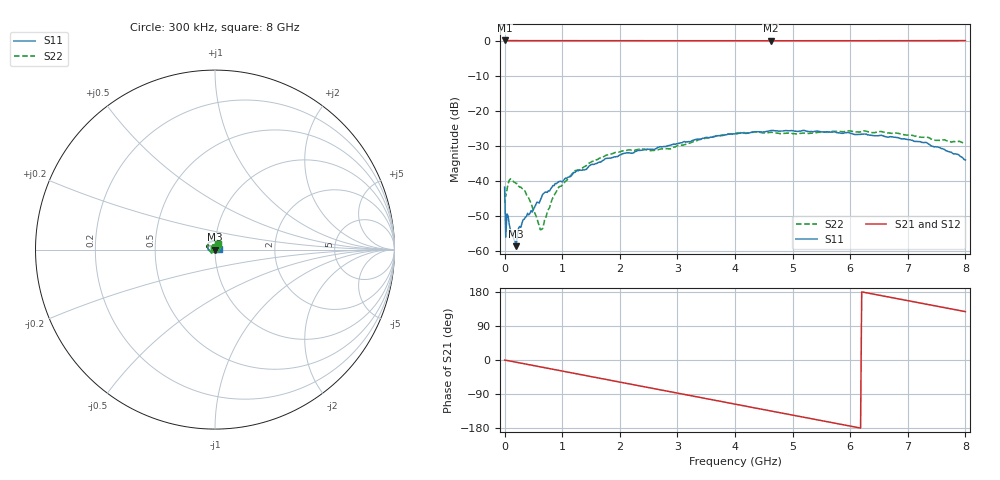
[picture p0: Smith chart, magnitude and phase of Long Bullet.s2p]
#  HZ  S  DB  R  50.00
! Rohde & Schwarz Vector Network Analyzer
! Rohde-Schwarz,ZNB8-4Port,1311601044101761,1.95
! Created: UTC 2/26/2014, 9:17:47 AM
! freq[Hz]  db:S11  ang:S11  db:S21  ang:S21  db:S12  ang:S12  db:S22  ang:S22
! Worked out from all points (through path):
!   401 points, 300 kHz to 8 GHz, reference 50 ohm
!   highest |S21| = 0.03 dB at 300 kHz (marker M1); lowest = -0.1 dB at 4.62 GHz (marker M2)
!   group delay of S21, straight-line fit = 80.7 ps
!   lowest |S11| = -58.7 dB at 200.3 MHz (marker M3), VSWR 1.00, Z = 50 - j0.11 ohm
!   |S11| at or under -10 dB: start of sweep to end of sweep
!   |S22| runs from -54.0 to -25.8 dB; largest |S21 - S12| = 0.0036
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300000  -41.89 103.4  0.03 -0.3  0.03 -0.3  -43.73 86.1
6.029775e7  -50.08 -98.1  -0.02 -1.8  -0.02 -1.7  -40.96 -1.5
8.0297e7  -52.42 -85.6  -0.03 -2.3  -0.03 -2.3  -39.95 -1.1
1.202955e8  -54.56 -80.5  -0.03 -3.5  -0.03 -3.5  -39.61 -0.5
1.60294e8  -56.83 -116.7  -0.03 -4.6  -0.03 -4.6  -40.41 -3.1
2.002925e8  -58.74 -108.0  -0.03 -5.8  -0.03 -5.8  -40.85 -1.1
2.802895e8  -53.38 -97.2  -0.03 -8.2  -0.03 -8.1  -41.86 -9.4
3.802858e8  -50.24 -99.6  -0.03 -11.1  -0.03 -11.1  -44.10 -19.2
6.40276e8  -44.81 -92.5  -0.03 -18.7  -0.03 -18.6  -53.96 -90.6
9.202655e8  -40.55 -97.1  -0.04 -26.9  -0.03 -26.8  -42.36 -151.9
1.200255e9  -37.65 -108.9  -0.04 -35.0  -0.04 -35.0  -37.53 -147.9
1.34025e9  -37.06 -117.1  -0.04 -39.1  -0.04 -39.0  -36.49 -143.2
1.920228e9  -33.24 -142.1  -0.05 -56.0  -0.05 -55.9  -31.96 -132.3
2.6802e9  -30.44 -165.0  -0.05 -78.1  -0.05 -78.0  -31.08 -151.9
3.320176e9  -28.25 176.0  -0.06 -96.7  -0.06 -96.5  -28.63 171.7
4.00015e9  -26.67 153.6  -0.06 -116.4  -0.06 -116.3  -26.56 157.9
4.620127e9  -25.73 135.6  -0.06 -134.5  -0.06 -134.3  -26.23 148.1
5.3401e9  -26.03 117.3  -0.06 -155.3  -0.05 -155.1  -26.47 118.7
6.020074e9  -26.57 94.3  -0.05 -175.0  -0.05 -174.8  -25.89 100.3
6.68005e9  -27.50 67.3  -0.05 165.8  -0.05 166.0  -26.40 95.2
7.320026e9  -29.12 43.3  -0.03 147.3  -0.03 147.5  -27.55 78.7
8e9  -34.11 5.5  -0.01 127.7  -0.01 127.8  -29.41 60.3
